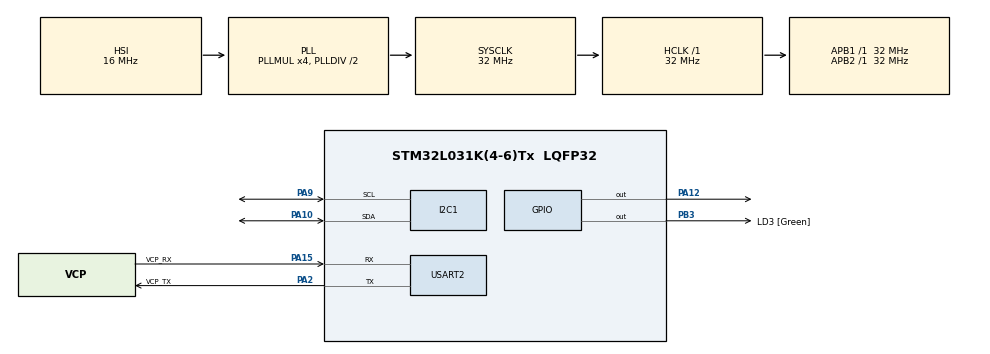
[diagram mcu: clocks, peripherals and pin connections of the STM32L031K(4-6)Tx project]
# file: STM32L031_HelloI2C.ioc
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I2C1.Timing=0x00707CBB
Mcu.Family=STM32L0
Mcu.Name=STM32L031K(4-6)Tx
Mcu.Package=LQFP32
PA10.Mode=I2C
PA10.Signal=I2C1_SDA
PA12.Signal=GPIO_Output
PA13.GPIO_Label=TMS
PA13.Mode=Serial_Wire
PA13.Signal=SYS_SWDIO
PA14.GPIO_Label=TCK
PA14.Mode=Serial_Wire
PA14.Signal=SYS_SWCLK
PA15.GPIO_Label=VCP_RX
PA15.Mode=Asynchronous
PA15.Signal=USART2_RX
PA2.GPIO_Label=VCP_TX
PA2.Mode=Asynchronous
PA2.Signal=USART2_TX
PA9.Mode=I2C
PA9.Signal=I2C1_SCL
PB3.GPIO_Label=LD3 [Green]
PB3.Signal=GPIO_Output
PC14-OSC32_IN.Mode=LSE-External-Oscillator
PC14-OSC32_IN.Signal=RCC_OSC32_IN
PC15-OSC32_OUT.Mode=LSE-External-Oscillator
PC15-OSC32_OUT.Signal=RCC_OSC32_OUT
ProjectManager.HeapSize=0x200
ProjectManager.StackSize=0x400
ProjectManager.TargetToolchain=STM32CubeIDE
RCC.AHBFreq_Value=32000000
RCC.APB1Freq_Value=32000000
RCC.APB1TimFreq_Value=32000000
RCC.APB2Freq_Value=32000000
RCC.APB2TimFreq_Value=32000000
RCC.HCLKFreq_Value=32000000
RCC.HSE_VALUE=8000000
RCC.HSI16_VALUE=16000000
RCC.HSI48_VALUE=48000000
RCC.HSI_VALUE=16000000
RCC.MSI_VALUE=2097000
RCC.PLLMUL=RCC_PLLMUL_4
RCC.SYSCLKFreq_VALUE=32000000
RCC.SYSCLKSource=RCC_SYSCLKSOURCE_PLLCLK
RCC.VCOOutputFreq_Value=64000000
USART2.VirtualMode-Asynchronous=VM_ASYNC
board=NUCLEO-L031K6

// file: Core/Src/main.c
/* USER CODE BEGIN Header */
/**
  ******************************************************************************
  * @file           : main.c
  * @brief          : Main program body
  ******************************************************************************
  * @attention
  *
  * Copyright (c) 2022 STMicroelectronics.
  * All rights reserved.
  *
  * This software is licensed under terms that can be found in the LICENSE file
  * in the root directory of this software component.
  * If no LICENSE file comes with this software, it is provided AS-IS.
  *
  ******************************************************************************
  */
/* USER CODE END Header */
#include "main.h"

/* USER CODE BEGIN PD */
#define Addr_GND_GND 0xC0
/* USER CODE END PD */

I2C_HandleTypeDef hi2c1;

UART_HandleTypeDef huart2;

/* USER CODE BEGIN PV */
uint8_t minutes[] = {2, 20, 38, 56,
                     3, 21, 39, 57,
                     4, 22, 40, 58,
                     5, 23, 41, 59,
                     6, 24, 42, 60,
                     7, 25, 43, 61,
                     8, 26, 44, 62,
                     9, 27, 45, 63,
                     10, 28, 46, 64,
                     11, 29, 47, 65,
                     12, 30, 48, 66,
                     13, 31, 49, 67,
                     14, 32, 50, 68,
                     15, 33, 51, 69,
                     1, 19, 37, 55};

uint8_t hours[] = {35, 53, 71, 18, 36, 54, 72, 16, 34, 52, 70, 17};
/* USER CODE END PV */

void SystemClock_Config(void);
static void MX_GPIO_Init(void);
static void MX_USART2_UART_Init(void);
static void MX_I2C1_Init(void);
/* USER CODE BEGIN PFP */
void MAX_Init3746A(void);
void MAX_I2CSend(uint8_t * data);
/* USER CODE END PFP */

int main(void)
{

  /* MCU Configuration--------------------------------------------------------*/

  /* Reset of all peripherals, Initializes the Flash interface and the Systick. */
  HAL_Init();

  /* Configure the system clock */
  SystemClock_Config();

  /* Initialize all configured peripherals */
  MX_GPIO_Init();
  MX_USART2_UART_Init();
  MX_I2C1_Init();
  /* USER CODE BEGIN 2 */
  HAL_GPIO_WritePin(GPIOA, GPIO_PIN_12, GPIO_PIN_SET);

  MAX_Init3746A();
  /* USER CODE END 2 */

  /* Infinite loop */
  /* USER CODE BEGIN WHILE */
  while (1)
  {
    uint8_t data[2];
    data[0] = 0xfe;
    data[1] = 0xc5;
    MAX_I2CSend(data);
    data[0] = 0xfd;
    data[1] = 0x00;
    MAX_I2CSend(data); // page 0

    for (uint8_t h = 0; h < 12; h++) {
      data[0] = hours[h];
      data[1] = 0x08;
      MAX_I2CSend(data); // on

      HAL_Delay(200);

      data[0] = hours[h];
      data[1] = 0x00;
      MAX_I2CSend(data); // off
    }
    /* USER CODE END WHILE */

  }
}

void SystemClock_Config(void)
{
  RCC_OscInitTypeDef RCC_OscInitStruct = {0};
  RCC_ClkInitTypeDef RCC_ClkInitStruct = {0};
  RCC_PeriphCLKInitTypeDef PeriphClkInit = {0};

  /** Configure the main internal regulator output voltage
  */
  __HAL_PWR_VOLTAGESCALING_CONFIG(PWR_REGULATOR_VOLTAGE_SCALE1);
  /** Initializes the RCC Oscillators according to the specified parameters
  * in the RCC_OscInitTypeDef structure.
  */
  RCC_OscInitStruct.OscillatorType = RCC_OSCILLATORTYPE_HSI;
  RCC_OscInitStruct.HSIState = RCC_HSI_ON;
  RCC_OscInitStruct.HSICalibrationValue = RCC_HSICALIBRATION_DEFAULT;
  RCC_OscInitStruct.PLL.PLLState = RCC_PLL_ON;
  RCC_OscInitStruct.PLL.PLLSource = RCC_PLLSOURCE_HSI;
  RCC_OscInitStruct.PLL.PLLMUL = RCC_PLLMUL_4;
  RCC_OscInitStruct.PLL.PLLDIV = RCC_PLLDIV_2;
  if (HAL_RCC_OscConfig(&RCC_OscInitStruct) != HAL_OK)
  {
    Error_Handler();
  }
  /** Initializes the CPU, AHB and APB buses clocks
  */
  RCC_ClkInitStruct.ClockType = RCC_CLOCKTYPE_HCLK|RCC_CLOCKTYPE_SYSCLK
                              |RCC_CLOCKTYPE_PCLK1|RCC_CLOCKTYPE_PCLK2;
  RCC_ClkInitStruct.SYSCLKSource = RCC_SYSCLKSOURCE_PLLCLK;
  RCC_ClkInitStruct.AHBCLKDivider = RCC_SYSCLK_DIV1;
  RCC_ClkInitStruct.APB1CLKDivider = RCC_HCLK_DIV1;
  RCC_ClkInitStruct.APB2CLKDivider = RCC_HCLK_DIV1;

  if (HAL_RCC_ClockConfig(&RCC_ClkInitStruct, FLASH_LATENCY_1) != HAL_OK)
  {
    Error_Handler();
  }
  PeriphClkInit.PeriphClockSelection = RCC_PERIPHCLK_USART2|RCC_PERIPHCLK_I2C1;
  PeriphClkInit.Usart2ClockSelection = RCC_USART2CLKSOURCE_PCLK1;
  PeriphClkInit.I2c1ClockSelection = RCC_I2C1CLKSOURCE_PCLK1;
  if (HAL_RCCEx_PeriphCLKConfig(&PeriphClkInit) != HAL_OK)
  {
    Error_Handler();
  }
}

static void MX_I2C1_Init(void)
{

  hi2c1.Instance = I2C1;
  hi2c1.Init.Timing = 0x00707CBB;
  hi2c1.Init.OwnAddress1 = 0;
  hi2c1.Init.AddressingMode = I2C_ADDRESSINGMODE_7BIT;
  hi2c1.Init.DualAddressMode = I2C_DUALADDRESS_DISABLE;
  hi2c1.Init.OwnAddress2 = 0;
  hi2c1.Init.OwnAddress2Masks = I2C_OA2_NOMASK;
  hi2c1.Init.GeneralCallMode = I2C_GENERALCALL_DISABLE;
  hi2c1.Init.NoStretchMode = I2C_NOSTRETCH_DISABLE;
  if (HAL_I2C_Init(&hi2c1) != HAL_OK)
  {
    Error_Handler();
  }
  /** Configure Analogue filter
  */
  if (HAL_I2CEx_ConfigAnalogFilter(&hi2c1, I2C_ANALOGFILTER_ENABLE) != HAL_OK)
  {
    Error_Handler();
  }
  /** Configure Digital filter
  */
  if (HAL_I2CEx_ConfigDigitalFilter(&hi2c1, 0) != HAL_OK)
  {
    Error_Handler();
  }

}

static void MX_USART2_UART_Init(void)
{

  huart2.Instance = USART2;
  huart2.Init.BaudRate = 115200;
  huart2.Init.WordLength = UART_WORDLENGTH_8B;
  huart2.Init.StopBits = UART_STOPBITS_1;
  huart2.Init.Parity = UART_PARITY_NONE;
  huart2.Init.Mode = UART_MODE_TX_RX;
  huart2.Init.HwFlowCtl = UART_HWCONTROL_NONE;
  huart2.Init.OverSampling = UART_OVERSAMPLING_16;
  huart2.Init.OneBitSampling = UART_ONE_BIT_SAMPLE_DISABLE;
  huart2.AdvancedInit.AdvFeatureInit = UART_ADVFEATURE_NO_INIT;
  if (HAL_UART_Init(&huart2) != HAL_OK)
  {
    Error_Handler();
  }

}

static void MX_GPIO_Init(void)
{
  GPIO_InitTypeDef GPIO_InitStruct = {0};

  /* GPIO Ports Clock Enable */
  __HAL_RCC_GPIOC_CLK_ENABLE();
  __HAL_RCC_GPIOA_CLK_ENABLE();
  __HAL_RCC_GPIOB_CLK_ENABLE();

  /*Configure GPIO pin Output Level */
  HAL_GPIO_WritePin(GPIOA, GPIO_PIN_12, GPIO_PIN_RESET);

  /*Configure GPIO pin Output Level */
  HAL_GPIO_WritePin(LD3_GPIO_Port, LD3_Pin, GPIO_PIN_RESET);

  /*Configure GPIO pin : PA12 */
  GPIO_InitStruct.Pin = GPIO_PIN_12;
  GPIO_InitStruct.Mode = GPIO_MODE_OUTPUT_PP;
  GPIO_InitStruct.Pull = GPIO_NOPULL;
  GPIO_InitStruct.Speed = GPIO_SPEED_FREQ_LOW;
  HAL_GPIO_Init(GPIOA, &GPIO_InitStruct);

  /*Configure GPIO pin : LD3_Pin */
  GPIO_InitStruct.Pin = LD3_Pin;
  GPIO_InitStruct.Mode = GPIO_MODE_OUTPUT_PP;
  GPIO_InitStruct.Pull = GPIO_NOPULL;
  GPIO_InitStruct.Speed = GPIO_SPEED_FREQ_LOW;
  HAL_GPIO_Init(LD3_GPIO_Port, &GPIO_InitStruct);

}

/* USER CODE BEGIN 4 */
void MAX_Init3746A(void)
{
  uint8_t data[2];

  data[0] = 0xfe;
  data[1] = 0xc5;
  MAX_I2CSend(data);
  data[0] = 0xfd;
  data[1] = 0x00;
  MAX_I2CSend(data); // page 0
  for (int i = 1; i < 73; i++)
  {
    data[0] = i;
    data[1] = 0x00;
    MAX_I2CSend(data); // PWM
  }

  data[0] = 0xfe;
  data[1] = 0xc5;
  MAX_I2CSend(data);
  data[0] = 0xfd;
  data[1] = 0x01;
  MAX_I2CSend(data); // page 1
  for (int i = 1; i < 73; i++)
  {
    data[0] = i;
    data[1] = 0xff;
    MAX_I2CSend(data); // scaling
  }

  data[0] = 0x52;
  data[1] = 0x70;
  MAX_I2CSend(data);
  data[0] = 0x51;
  data[1] = 0xff;
  MAX_I2CSend(data); // gcc
  data[0] = 0x50;
  data[1] = 0x01;
  MAX_I2CSend(data);
}

void MAX_I2CSend(uint8_t * data)
{
  HAL_I2C_Master_Transmit(&hi2c1, Addr_GND_GND, data, 2, 0xFFFF);
}
/* USER CODE END 4 */

void Error_Handler(void)
{
  __disable_irq();
  while (1)
  {
  }
}
